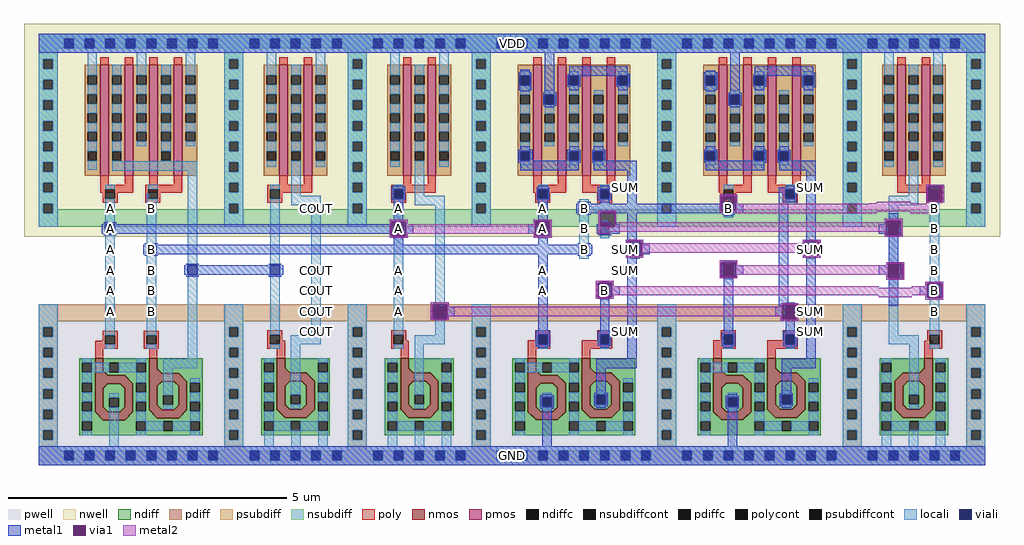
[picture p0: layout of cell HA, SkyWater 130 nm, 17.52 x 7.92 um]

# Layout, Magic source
magic
tech sky130A
magscale 1 2
<< nwell >>
rect 57 1463 91 1497
<< pwell >>
rect 57 -17 91 17
<< locali >>
rect 2055 945 2089 979
rect 2721 945 2755 979
rect 205 871 239 905
rect 353 871 387 905
rect 945 871 979 905
rect 1241 871 1275 905
rect 1759 871 1793 905
rect 1907 871 1941 905
rect 2425 871 2459 905
rect 3165 871 3199 905
rect 205 797 239 831
rect 1241 797 1275 831
rect 1759 797 1793 831
rect 1907 773 1941 855
rect 3165 797 3199 831
rect 205 723 239 757
rect 353 723 387 757
rect 1907 723 1941 757
rect 2055 723 2089 757
rect 2721 723 2755 757
rect 3165 723 3199 757
rect 205 649 239 683
rect 353 649 387 683
rect 945 649 979 683
rect 1241 649 1275 683
rect 1759 649 1793 683
rect 2055 649 2089 683
rect 3165 649 3199 683
rect 205 575 239 609
rect 353 575 387 609
rect 945 575 979 609
rect 1241 575 1275 609
rect 1759 575 1793 609
rect 1981 575 2015 609
rect 3165 575 3199 609
rect 205 501 239 535
rect 353 501 387 535
rect 945 501 979 535
rect 1241 501 1275 535
rect 2721 501 2755 535
rect 3165 501 3199 535
rect 945 427 979 461
rect 2055 427 2089 461
rect 2721 427 2755 461
<< metal1 >>
rect -34 1446 3364 1514
rect 1977 871 2413 905
rect 275 797 1229 831
rect 423 723 1871 757
rect -34 -34 3364 34
use and2x1_pcell  and2x1_pcell_0 pcells
transform 1 0 0 0 1 0
box -87 -34 1197 1550
use li1_M1_contact  li1_M1_contact_0 pcells
transform -1 0 370 0 -1 740
box -53 -33 29 33
use li1_M1_contact  li1_M1_contact_1
transform -1 0 222 0 -1 814
box -53 -33 29 33
use li1_M1_contact  li1_M1_contact_2
transform 1 0 1924 0 1 740
box -53 -33 29 33
use li1_M1_contact  li1_M1_contact_3
transform -1 0 1924 0 -1 888
box -53 -33 29 33
use xor2X1_pcell  xor2X1_pcell_0 pcells
transform 1 0 1110 0 1 0
box -87 -34 2307 1550
<< labels >>
rlabel locali 2721 723 2755 757 1 SUM
port 1 nsew signal output
rlabel locali 2055 723 2089 757 1 SUM
port 1 nsew signal output
rlabel locali 2721 427 2755 461 1 SUM
port 1 nsew signal output
rlabel locali 2721 501 2755 535 1 SUM
port 1 nsew signal output
rlabel locali 2721 945 2755 979 1 SUM
port 1 nsew signal output
rlabel locali 2055 649 2089 683 1 SUM
port 1 nsew signal output
rlabel locali 2055 427 2089 461 1 SUM
port 1 nsew signal output
rlabel locali 2055 945 2089 979 1 SUM
port 1 nsew signal output
rlabel locali 945 501 979 535 1 COUT
port 2 nsew signal output
rlabel locali 945 427 979 461 1 COUT
port 2 nsew signal output
rlabel locali 945 649 979 683 1 COUT
port 2 nsew signal output
rlabel locali 945 871 979 905 1 COUT
port 2 nsew signal output
rlabel locali 945 575 979 609 1 COUT
port 2 nsew signal output
rlabel locali 205 797 239 831 1 A
port 3 nsew signal input
rlabel locali 205 871 239 905 1 A
port 3 nsew signal input
rlabel locali 205 723 239 757 1 A
port 3 nsew signal input
rlabel locali 205 649 239 683 1 A
port 3 nsew signal input
rlabel locali 205 575 239 609 1 A
port 3 nsew signal input
rlabel locali 205 501 239 535 1 A
port 3 nsew signal input
rlabel locali 1241 871 1275 905 1 A
port 3 nsew signal input
rlabel locali 1241 797 1275 831 1 A
port 3 nsew signal input
rlabel locali 1241 649 1275 683 1 A
port 3 nsew signal input
rlabel locali 1241 575 1275 609 1 A
port 3 nsew signal input
rlabel locali 1241 501 1275 535 1 A
port 3 nsew signal input
rlabel locali 1759 871 1793 905 1 A
port 3 nsew signal input
rlabel locali 1759 797 1793 831 1 A
port 3 nsew signal input
rlabel locali 1759 649 1793 683 1 A
port 3 nsew signal input
rlabel locali 1759 575 1793 609 1 A
port 3 nsew signal input
rlabel locali 353 723 387 757 1 B
port 4 nsew signal input
rlabel locali 353 649 387 683 1 B
port 4 nsew signal input
rlabel locali 353 575 387 609 1 B
port 4 nsew signal input
rlabel locali 353 501 387 535 1 B
port 4 nsew signal input
rlabel locali 353 871 387 905 1 B
port 4 nsew signal input
rlabel locali 1907 723 1941 757 1 B
port 4 nsew signal input
rlabel locali 1907 797 1941 831 1 B
port 4 nsew signal input
rlabel locali 1907 871 1941 905 1 B
port 4 nsew signal input
rlabel locali 3165 723 3199 757 1 B
port 4 nsew signal input
rlabel locali 1981 575 2015 609 1 B
port 4 nsew signal input
rlabel locali 3165 575 3199 609 1 B
port 4 nsew signal input
rlabel locali 3165 649 3199 683 1 B
port 4 nsew signal input
rlabel locali 3165 501 3199 535 1 B
port 4 nsew signal input
rlabel locali 3165 797 3199 831 1 B
port 4 nsew signal input
rlabel locali 3165 871 3199 905 1 B
port 4 nsew signal input
rlabel locali 2425 871 2459 905 1 B
port 4 nsew signal input
rlabel metal1 -34 1446 3364 1514 1 VDD
port 5 nsew power bidirectional abutment
rlabel metal1 -34 -34 3364 34 1 GND
port 6 nsew ground bidirectional abutment


<< properties >>
string LEFclass CORE
string LEFsite unitrh
string FIXED_BBOX 0 0 3330 1480
string LEFsymmetry X Y R90
<< end >>

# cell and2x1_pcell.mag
magic
tech sky130A
magscale 1 2
<< metal1 >>
rect 547 649 761 683
use nand2x1_pcell  nand2x1_pcell_0
transform 1 0 0 0 1 0
box -87 -34 753 1550
use invx1_pcell  invx1_pcell_0
transform 1 0 666 0 1 0
box -87 -34 531 1550
use li1_M1_contact  li1_M1_contact_1
transform 1 0 814 0 1 666
box -53 -33 29 33
use li1_M1_contact  li1_M1_contact_0
transform -1 0 518 0 -1 666
box -53 -33 29 33
<< end >>

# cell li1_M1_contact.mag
magic
tech sky130A
magscale 1 2
<< locali >>
rect -17 17 17 33
rect -17 -33 17 -17
<< viali >>
rect -17 -17 17 17
<< metal1 >>
rect -23 17 23 23
rect -53 -17 -17 17
rect 17 -17 29 17
rect -23 -23 23 -17
<< end >>

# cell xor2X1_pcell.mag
magic
tech sky130A
magscale 1 2
<< nwell >>
rect 531 1532 1689 1550
rect 528 1514 1026 1532
rect 1194 1514 1692 1532
rect 478 1463 1742 1514
rect 478 1449 1079 1463
rect 1141 1449 1742 1463
rect 478 1446 1076 1449
rect 1144 1446 1742 1449
rect 528 1439 1026 1446
rect 528 968 539 1439
rect 585 1330 619 1364
rect 1015 968 1026 1439
rect 528 825 1026 968
rect 1194 1440 1692 1446
rect 1194 968 1205 1440
rect 1681 968 1692 1440
rect 1194 825 1692 968
rect 2042 905 2055 913
rect 531 786 1689 825
<< pwell >>
rect -31 0 1742 544
rect 1761 0 2251 544
rect 478 -28 1742 0
rect 478 -34 1076 -28
rect 1144 -34 1742 -28
<< pdiffc >>
rect 585 1330 619 1364
rect 761 1330 795 1364
rect 937 1330 971 1364
rect 1251 1330 1285 1364
rect 1427 1330 1461 1364
rect 1603 1330 1637 1364
rect 585 1058 619 1092
rect 761 1058 795 1092
rect 849 1058 883 1092
rect 1251 1058 1285 1092
rect 1427 1058 1461 1092
rect 1515 1058 1549 1092
<< psubdiff >>
rect 478 482 1079 544
rect 1141 482 1742 544
rect 478 -17 501 17
rect 535 -17 575 17
rect 609 -17 649 17
rect 683 -17 723 17
rect 757 -17 797 17
rect 831 -17 871 17
rect 905 -17 945 17
rect 979 -17 1019 17
rect 1053 -17 1079 17
rect 1141 -17 1167 17
rect 1201 -17 1241 17
rect 1275 -17 1315 17
rect 1349 -17 1389 17
rect 1423 -17 1463 17
rect 1497 -17 1537 17
rect 1571 -17 1611 17
rect 1645 -17 1685 17
rect 1719 -17 1742 17
rect 478 -34 1076 -17
rect 1144 -34 1742 -17
<< nsubdiff >>
rect 478 1497 1742 1514
rect 478 1463 501 1497
rect 535 1463 575 1497
rect 609 1463 649 1497
rect 683 1463 723 1497
rect 757 1463 797 1497
rect 831 1463 871 1497
rect 905 1463 945 1497
rect 979 1463 1019 1497
rect 1053 1463 1167 1497
rect 1201 1463 1241 1497
rect 1275 1463 1315 1497
rect 1349 1463 1389 1497
rect 1423 1463 1463 1497
rect 1497 1463 1537 1497
rect 1571 1463 1611 1497
rect 1645 1463 1685 1497
rect 1719 1463 1742 1497
rect 478 822 1079 884
rect 1141 822 1742 884
<< psubdiffcont >>
rect 501 -17 535 17
rect 575 -17 609 17
rect 649 -17 683 17
rect 723 -17 757 17
rect 797 -17 831 17
rect 871 -17 905 17
rect 945 -17 979 17
rect 1019 -17 1053 17
rect 1167 -17 1201 17
rect 1241 -17 1275 17
rect 1315 -17 1349 17
rect 1389 -17 1423 17
rect 1463 -17 1497 17
rect 1537 -17 1571 17
rect 1611 -17 1645 17
rect 1685 -17 1719 17
<< nsubdiffcont >>
rect 501 1463 535 1497
rect 575 1463 609 1497
rect 649 1463 683 1497
rect 723 1463 757 1497
rect 797 1463 831 1497
rect 871 1463 905 1497
rect 945 1463 979 1497
rect 1019 1463 1053 1497
rect 1167 1463 1201 1497
rect 1241 1463 1275 1497
rect 1315 1463 1349 1497
rect 1389 1463 1423 1497
rect 1463 1463 1497 1497
rect 1537 1463 1571 1497
rect 1611 1463 1645 1497
rect 1685 1463 1719 1497
<< poly >>
rect 612 384 639 414
rect 806 384 861 414
rect 1278 384 1305 414
rect 1472 384 1527 414
rect 612 376 642 384
rect 806 383 836 384
rect 1278 376 1308 384
rect 1472 383 1502 384
<< locali >>
rect 478 1497 1769 1514
rect 478 1463 501 1497
rect 535 1463 575 1497
rect 609 1463 649 1497
rect 683 1463 723 1497
rect 757 1463 797 1497
rect 831 1463 871 1497
rect 905 1463 945 1497
rect 979 1463 1019 1497
rect 1053 1463 1167 1497
rect 1201 1463 1241 1497
rect 1275 1463 1315 1497
rect 1349 1463 1389 1497
rect 1423 1463 1463 1497
rect 1497 1463 1537 1497
rect 1571 1463 1611 1497
rect 1645 1463 1685 1497
rect 1719 1463 1769 1497
rect 478 1446 1769 1463
rect 585 1364 619 1380
rect 585 1312 619 1330
rect 761 1364 795 1380
rect 761 1312 795 1330
rect 937 1364 971 1380
rect 937 1312 971 1330
rect 1251 1364 1285 1380
rect 1251 1312 1285 1330
rect 1427 1364 1461 1380
rect 1427 1312 1461 1330
rect 1603 1364 1637 1380
rect 1603 1312 1637 1330
rect 585 1092 619 1126
rect 585 1042 619 1058
rect 761 1092 795 1113
rect 761 1042 795 1058
rect 849 1092 883 1115
rect 849 1042 883 1058
rect 1251 1092 1285 1121
rect 1251 1042 1285 1058
rect 1427 1092 1461 1118
rect 1427 1042 1461 1058
rect 1515 1092 1549 1120
rect 1515 1042 1549 1058
rect 475 17 1815 34
rect 475 -17 501 17
rect 535 -17 575 17
rect 609 -17 649 17
rect 683 -17 723 17
rect 757 -17 797 17
rect 831 -17 871 17
rect 905 -17 945 17
rect 979 -17 1019 17
rect 1053 -17 1167 17
rect 1201 -17 1241 17
rect 1275 -17 1315 17
rect 1349 -17 1389 17
rect 1423 -17 1463 17
rect 1497 -17 1537 17
rect 1571 -17 1611 17
rect 1645 -17 1685 17
rect 1719 -17 1815 17
rect 475 -34 1815 -17
<< viali >>
rect 501 1463 535 1497
rect 575 1463 609 1497
rect 649 1463 683 1497
rect 723 1463 757 1497
rect 797 1463 831 1497
rect 871 1463 905 1497
rect 945 1463 979 1497
rect 1019 1463 1053 1497
rect 1167 1463 1201 1497
rect 1241 1463 1275 1497
rect 1315 1463 1349 1497
rect 1389 1463 1423 1497
rect 1463 1463 1497 1497
rect 1537 1463 1571 1497
rect 1611 1463 1645 1497
rect 1685 1463 1719 1497
rect 585 1330 619 1364
rect 761 1330 795 1364
rect 937 1330 971 1364
rect 1251 1330 1285 1364
rect 1427 1330 1461 1364
rect 1603 1330 1637 1364
rect 673 1262 707 1296
rect 1339 1262 1373 1296
rect 585 1058 619 1092
rect 761 1058 795 1092
rect 849 1058 883 1092
rect 1251 1058 1285 1092
rect 1427 1058 1461 1092
rect 1515 1058 1549 1092
rect 131 923 165 957
rect 649 923 683 957
rect 871 923 905 957
rect 1537 923 1571 957
rect 649 400 683 434
rect 871 400 905 434
rect 1315 400 1349 434
rect 1537 400 1571 434
rect 663 175 697 209
rect 857 184 891 218
rect 1329 175 1363 209
rect 1523 184 1557 218
rect 501 -17 535 17
rect 575 -17 609 17
rect 649 -17 683 17
rect 723 -17 757 17
rect 797 -17 831 17
rect 871 -17 905 17
rect 945 -17 979 17
rect 1019 -17 1053 17
rect 1167 -17 1201 17
rect 1241 -17 1275 17
rect 1315 -17 1349 17
rect 1389 -17 1423 17
rect 1463 -17 1497 17
rect 1537 -17 1571 17
rect 1611 -17 1645 17
rect 1685 -17 1719 17
<< metal1 >>
rect 478 1497 1742 1514
rect 478 1463 501 1497
rect 535 1463 575 1497
rect 609 1463 649 1497
rect 683 1463 723 1497
rect 757 1463 797 1497
rect 831 1463 871 1497
rect 905 1463 945 1497
rect 979 1463 1019 1497
rect 1053 1463 1167 1497
rect 1201 1463 1241 1497
rect 1275 1463 1315 1497
rect 1349 1463 1389 1497
rect 1423 1463 1463 1497
rect 1497 1463 1537 1497
rect 1571 1463 1611 1497
rect 1645 1463 1685 1497
rect 1719 1463 1742 1497
rect 478 1449 1079 1463
rect 1141 1449 1742 1463
rect 478 1446 1076 1449
rect 1144 1446 1742 1449
rect 585 1377 619 1385
rect 579 1364 625 1377
rect 579 1330 585 1364
rect 619 1330 625 1364
rect 579 1312 625 1330
rect 585 1308 619 1312
rect 673 1304 707 1446
rect 761 1371 971 1398
rect 1251 1376 1285 1382
rect 761 1370 977 1371
rect 755 1364 977 1370
rect 755 1330 761 1364
rect 795 1330 801 1364
rect 755 1324 801 1330
rect 931 1330 937 1364
rect 971 1330 977 1364
rect 931 1324 977 1330
rect 1243 1364 1291 1376
rect 1243 1330 1251 1364
rect 1285 1330 1291 1364
rect 761 1312 795 1324
rect 937 1312 971 1324
rect 1243 1314 1291 1330
rect 1251 1309 1285 1314
rect 667 1296 713 1304
rect 1339 1302 1373 1446
rect 1427 1374 1637 1398
rect 1427 1370 1643 1374
rect 1421 1364 1643 1370
rect 1421 1330 1427 1364
rect 1461 1330 1467 1364
rect 1421 1324 1467 1330
rect 1596 1330 1603 1364
rect 1637 1330 1643 1364
rect 1427 1312 1461 1324
rect 1596 1323 1643 1330
rect 1603 1312 1637 1323
rect 667 1262 673 1296
rect 707 1262 713 1296
rect 667 1256 713 1262
rect 1333 1296 1379 1302
rect 1333 1262 1339 1296
rect 1373 1262 1379 1296
rect 1333 1256 1379 1262
rect 673 1250 707 1256
rect 1339 1250 1373 1256
rect 585 1098 619 1110
rect 761 1098 795 1110
rect 849 1098 883 1110
rect 1251 1098 1285 1110
rect 1427 1098 1461 1110
rect 1515 1098 1549 1110
rect 578 1092 629 1098
rect 578 1058 585 1092
rect 619 1058 629 1092
rect 754 1092 802 1098
rect 754 1058 761 1092
rect 795 1058 802 1092
rect 578 1051 802 1058
rect 843 1092 889 1098
rect 843 1058 849 1092
rect 883 1058 889 1092
rect 1245 1092 1291 1098
rect 1245 1058 1251 1092
rect 1285 1058 1291 1092
rect 1421 1092 1467 1098
rect 1421 1058 1427 1092
rect 1461 1058 1467 1092
rect 843 1052 1003 1058
rect 1245 1052 1467 1058
rect 1509 1092 1555 1098
rect 1509 1058 1515 1092
rect 1549 1058 1555 1092
rect 1509 1052 1645 1058
rect 585 1024 795 1051
rect 849 1024 1003 1052
rect 1251 1024 1461 1052
rect 1515 1024 1645 1052
rect 131 967 165 969
rect 124 957 172 967
rect 649 963 683 969
rect 871 966 905 969
rect 124 923 131 957
rect 165 923 172 957
rect 124 917 172 923
rect 643 957 689 963
rect 643 923 649 957
rect 683 923 689 957
rect 643 917 689 923
rect 863 957 913 966
rect 863 923 871 957
rect 905 923 913 957
rect 863 917 913 923
rect 131 846 165 917
rect 649 847 683 917
rect 871 879 905 917
rect 865 873 929 879
rect 116 840 180 846
rect 116 788 122 840
rect 174 788 180 840
rect 116 782 180 788
rect 633 841 697 847
rect 633 789 639 841
rect 691 789 697 841
rect 865 821 871 873
rect 923 821 929 873
rect 865 815 929 821
rect 633 783 697 789
rect 131 724 165 782
rect 264 544 328 550
rect 264 492 270 544
rect 322 492 328 544
rect 264 486 328 492
rect 649 448 683 783
rect 969 775 1003 1024
rect 1537 964 1571 969
rect 1513 957 1578 964
rect 1300 932 1364 938
rect 1300 880 1306 932
rect 1358 880 1364 932
rect 1300 874 1364 880
rect 1513 923 1537 957
rect 1571 923 1578 957
rect 1513 910 1578 923
rect 1315 862 1349 874
rect 963 769 1027 775
rect 963 717 969 769
rect 1021 717 1027 769
rect 969 711 1027 717
rect 856 621 920 627
rect 856 569 862 621
rect 914 609 920 621
rect 914 569 920 575
rect 856 563 920 569
rect 641 434 690 448
rect 871 447 905 563
rect 641 400 649 434
rect 683 400 690 434
rect 641 393 690 400
rect 863 434 912 447
rect 863 400 871 434
rect 905 400 912 434
rect 863 394 912 400
rect 649 388 683 393
rect 871 388 905 394
rect 969 348 1003 711
rect 1300 695 1364 701
rect 1300 643 1306 695
rect 1358 643 1364 695
rect 1300 641 1364 643
rect 1315 441 1349 641
rect 1513 547 1547 910
rect 1611 775 1645 1024
rect 2042 967 2106 973
rect 2042 915 2048 967
rect 2100 915 2106 967
rect 2042 909 2106 915
rect 1907 850 1941 871
rect 1893 844 1957 850
rect 1893 792 1899 844
rect 1951 792 1957 844
rect 1599 769 1661 775
rect 1599 717 1605 769
rect 1657 717 1661 769
rect 1599 711 1661 717
rect 1513 541 1583 547
rect 1513 528 1525 541
rect 1519 489 1525 528
rect 1577 489 1583 541
rect 1519 483 1583 489
rect 1537 446 1571 483
rect 1308 434 1356 441
rect 1308 400 1315 434
rect 1349 400 1356 434
rect 1308 392 1356 400
rect 1528 434 1579 446
rect 1528 400 1537 434
rect 1571 400 1579 434
rect 1528 392 1579 400
rect 1315 388 1349 392
rect 1537 388 1571 392
rect 1611 348 1645 711
rect 1907 695 1941 792
rect 1899 689 1963 695
rect 1899 637 1905 689
rect 1957 637 1963 689
rect 1899 631 1963 637
rect 1907 538 1941 631
rect 2039 618 2103 624
rect 2039 566 2045 618
rect 2097 566 2103 618
rect 2039 560 2103 566
rect 857 314 1003 348
rect 1523 314 1645 348
rect 857 225 891 314
rect 663 216 697 221
rect 851 218 898 225
rect 1523 224 1557 314
rect 657 209 704 216
rect 657 175 663 209
rect 697 175 704 209
rect 851 184 857 218
rect 891 184 898 218
rect 1329 215 1363 221
rect 1517 218 1563 224
rect 851 177 898 184
rect 1323 209 1369 215
rect 657 169 704 175
rect 857 172 891 177
rect 1323 175 1329 209
rect 1363 175 1369 209
rect 1517 184 1523 218
rect 1557 184 1563 218
rect 1517 178 1563 184
rect 1323 169 1369 175
rect 1523 172 1557 178
rect 663 34 697 169
rect 1329 34 1363 169
rect 478 17 1079 34
rect 478 -17 501 17
rect 535 -17 575 17
rect 609 -17 649 17
rect 683 -17 723 17
rect 757 -17 797 17
rect 831 -17 871 17
rect 905 -17 945 17
rect 979 -17 1019 17
rect 1053 -17 1079 17
rect 478 -28 1079 -17
rect 1141 17 1742 34
rect 1141 -17 1167 17
rect 1201 -17 1241 17
rect 1275 -17 1315 17
rect 1349 -17 1389 17
rect 1423 -17 1463 17
rect 1497 -17 1537 17
rect 1571 -17 1611 17
rect 1645 -17 1685 17
rect 1719 -17 1742 17
rect 1141 -28 1742 -17
rect 478 -34 1076 -28
rect 1144 -34 1742 -28
<< via1 >>
rect 122 788 174 840
rect 639 789 691 841
rect 871 821 923 873
rect 270 492 322 544
rect 1306 880 1358 932
rect 969 717 1021 769
rect 862 569 914 621
rect 1306 643 1358 695
rect 2048 915 2100 967
rect 1899 792 1951 844
rect 1605 717 1657 769
rect 1525 489 1577 541
rect 1905 637 1957 689
rect 2045 566 2097 618
<< metal2 >>
rect 2042 967 2106 973
rect 1300 932 1364 938
rect 1300 880 1306 932
rect 1358 905 1364 932
rect 2042 915 2048 967
rect 2100 915 2106 967
rect 1865 906 1985 912
rect 2042 909 2106 915
rect 1837 905 2013 906
rect 2042 905 2085 909
rect 1358 880 2085 905
rect 865 873 929 879
rect 1300 878 2085 880
rect 1300 874 1865 878
rect 116 840 180 846
rect 116 788 122 840
rect 174 831 180 840
rect 633 841 697 847
rect 633 831 639 841
rect 174 797 639 831
rect 174 788 180 797
rect 116 782 180 788
rect 633 789 639 797
rect 691 789 697 841
rect 865 821 871 873
rect 923 837 929 873
rect 1364 871 1865 874
rect 1985 871 2085 878
rect 1893 844 1957 850
rect 1893 837 1899 844
rect 923 821 1899 837
rect 865 803 1899 821
rect 865 797 908 803
rect 633 783 697 789
rect 1893 792 1899 803
rect 1951 792 1957 844
rect 1893 786 1957 792
rect 963 769 1027 775
rect 963 717 969 769
rect 1021 763 1027 769
rect 1599 769 1663 775
rect 1599 763 1605 769
rect 1021 729 1605 763
rect 1021 717 1027 729
rect 963 711 1027 717
rect 1599 717 1605 729
rect 1657 717 1663 769
rect 1599 711 1663 717
rect 1300 695 1364 701
rect 1300 643 1306 695
rect 1358 683 1364 695
rect 1899 689 1963 695
rect 1899 683 1905 689
rect 1358 649 1905 683
rect 1358 643 1364 649
rect 1300 637 1364 643
rect 1899 637 1905 649
rect 1957 637 1963 689
rect 1899 631 1963 637
rect 856 621 920 627
rect 856 569 862 621
rect 914 609 920 621
rect 2039 618 2103 624
rect 2039 609 2045 618
rect 914 603 1871 609
rect 1991 603 2045 609
rect 914 575 2045 603
rect 914 569 920 575
rect 1871 569 1991 575
rect 856 563 920 569
rect 2039 566 2045 575
rect 2097 566 2103 618
rect 2039 560 2103 566
rect 264 544 328 550
rect 264 492 270 544
rect 322 535 328 544
rect 1519 541 1583 547
rect 1519 535 1525 541
rect 322 501 1525 535
rect 322 492 328 501
rect 264 486 328 492
rect 1519 489 1525 501
rect 1577 489 1583 541
rect 1519 483 1583 489
use diff_ring_side  diff_ring_side_0
transform 1 0 1110 0 1 0
box -87 -34 87 1550
use diff_ring_side  diff_ring_side_1
transform 1 0 444 0 1 0
box -87 -34 87 1550
use diff_ring_side  diff_ring_side_3
transform 1 0 1776 0 1 0
box -87 -34 87 1550
use invx1_pcell  invx1_pcell_0
transform 1 0 0 0 1 0
box -87 -34 531 1550
use invx1_pcell  invx1_pcell_1
transform -1 0 2220 0 1 0
box -87 -34 531 1550
use li1_M1_contact  li1_M1_contact_0
transform 1 0 666 0 1 814
box -53 -33 29 33
use li1_M1_contact  li1_M1_contact_1
transform -1 0 148 0 -1 814
box -53 -33 29 33
use li1_M1_contact  li1_M1_contact_2
transform 1 0 2072 0 1 592
box -53 -33 29 33
use li1_M1_contact  li1_M1_contact_3
transform -1 0 888 0 -1 814
box -53 -33 29 33
use li1_M1_contact  li1_M1_contact_4
transform -1 0 296 0 -1 518
box -53 -33 29 33
use li1_M1_contact  li1_M1_contact_5
transform 1 0 1554 0 1 518
box -53 -33 29 33
use li1_M1_contact  li1_M1_contact_6
transform -1 0 1332 0 -1 888
box -53 -33 29 33
use li1_M1_contact  li1_M1_contact_7
transform -1 0 996 0 -1 740
box -53 -33 29 33
use li1_M1_contact  li1_M1_contact_8
transform 1 0 1628 0 1 740
box -53 -33 29 33
use li1_M1_contact  li1_M1_contact_9
transform -1 0 888 0 -1 592
box -53 -33 29 33
use li1_M1_contact  li1_M1_contact_10
transform 1 0 1924 0 1 814
box -53 -33 29 33
use li1_M1_contact  li1_M1_contact_11
transform -1 0 1332 0 -1 666
box -53 -33 29 33
use li1_M1_contact  li1_M1_contact_13
transform 1 0 1924 0 1 666
box -53 -33 29 33
use nmos_bottom  nmos_bottom_0
transform -1 0 804 0 1 74
box 0 0 248 302
use nmos_bottom  nmos_bottom_1
transform -1 0 1470 0 1 74
box 0 0 248 302
use nmos_top_trim1  nmos_top_trim1_0
transform -1 0 998 0 1 74
box 0 0 248 309
use nmos_top_trim1  nmos_top_trim1_1
transform -1 0 1664 0 1 74
box 0 0 248 309
use pmos2_1  pmos2_1_0
transform 1 0 487 0 1 1403
box 52 -460 352 37
use pmos2_1  pmos2_1_1
transform 1 0 663 0 1 1403
box 52 -460 352 37
use pmos2_1  pmos2_1_2
transform 1 0 1153 0 1 1403
box 52 -460 352 37
use pmos2_1  pmos2_1_3
transform 1 0 1329 0 1 1403
box 52 -460 352 37
use poly_li1_contact  poly_li1_contact_0
transform 0 1 667 -1 0 941
box -32 -28 34 26
use poly_li1_contact  poly_li1_contact_1
transform 0 1 667 -1 0 418
box -32 -28 34 26
use poly_li1_contact  poly_li1_contact_2
transform 0 1 889 -1 0 418
box -32 -28 34 26
use poly_li1_contact  poly_li1_contact_3
transform 0 1 889 -1 0 941
box -32 -28 34 26
use poly_li1_contact  poly_li1_contact_4
transform 0 1 1333 -1 0 418
box -32 -28 34 26
use poly_li1_contact  poly_li1_contact_5
transform 0 1 1333 -1 0 941
box -32 -28 34 26
use poly_li1_contact  poly_li1_contact_6
transform 0 1 1555 -1 0 418
box -32 -28 34 26
use poly_li1_contact  poly_li1_contact_7
transform 0 1 1555 -1 0 941
box -32 -28 34 26
<< end >>

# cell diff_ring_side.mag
magic
tech sky130A
magscale 1 2
<< nwell >>
rect -87 786 87 1550
<< pwell >>
rect -34 -34 34 544
<< psubdiff >>
rect -34 461 34 544
rect -34 427 -17 461
rect 17 427 34 461
rect -34 387 34 427
rect -34 353 -17 387
rect 17 353 34 387
rect -34 313 34 353
rect -34 279 -17 313
rect 17 279 34 313
rect -34 239 34 279
rect -34 205 -17 239
rect 17 205 34 239
rect -34 165 34 205
rect -34 131 -17 165
rect 17 131 34 165
rect -34 91 34 131
rect -34 57 -17 91
rect 17 57 34 91
rect -34 -34 34 57
<< nsubdiff >>
rect -34 1423 34 1514
rect -34 1389 -17 1423
rect 17 1389 34 1423
rect -34 1349 34 1389
rect -34 1315 -17 1349
rect 17 1315 34 1349
rect -34 1275 34 1315
rect -34 1241 -17 1275
rect 17 1241 34 1275
rect -34 1201 34 1241
rect -34 1167 -17 1201
rect 17 1167 34 1201
rect -34 1127 34 1167
rect -34 1093 -17 1127
rect 17 1093 34 1127
rect -34 1053 34 1093
rect -34 1019 -17 1053
rect 17 1019 34 1053
rect -34 979 34 1019
rect -34 945 -17 979
rect 17 945 34 979
rect -34 905 34 945
rect -34 871 -17 905
rect 17 871 34 905
rect -34 822 34 871
<< psubdiffcont >>
rect -17 427 17 461
rect -17 353 17 387
rect -17 279 17 313
rect -17 205 17 239
rect -17 131 17 165
rect -17 57 17 91
<< nsubdiffcont >>
rect -17 1389 17 1423
rect -17 1315 17 1349
rect -17 1241 17 1275
rect -17 1167 17 1201
rect -17 1093 17 1127
rect -17 1019 17 1053
rect -17 945 17 979
rect -17 871 17 905
<< locali >>
rect -34 1423 34 1514
rect -34 1389 -17 1423
rect 17 1389 34 1423
rect -34 1349 34 1389
rect -34 1315 -17 1349
rect 17 1315 34 1349
rect -34 1275 34 1315
rect -34 1241 -17 1275
rect 17 1241 34 1275
rect -34 1201 34 1241
rect -34 1167 -17 1201
rect 17 1167 34 1201
rect -34 1127 34 1167
rect -34 1093 -17 1127
rect 17 1093 34 1127
rect -34 1053 34 1093
rect -34 1019 -17 1053
rect 17 1019 34 1053
rect -34 979 34 1019
rect -34 945 -17 979
rect 17 945 34 979
rect -34 905 34 945
rect -34 871 -17 905
rect 17 871 34 905
rect -34 822 34 871
rect -34 461 34 544
rect -34 427 -17 461
rect 17 427 34 461
rect -34 387 34 427
rect -34 353 -17 387
rect 17 353 34 387
rect -34 313 34 353
rect -34 279 -17 313
rect 17 279 34 313
rect -34 239 34 279
rect -34 205 -17 239
rect 17 205 34 239
rect -34 165 34 205
rect -34 131 -17 165
rect 17 131 34 165
rect -34 91 34 131
rect -34 57 -17 91
rect 17 57 34 91
rect -34 -34 34 57
<< metal1 >>
rect -34 1446 34 1514
rect -34 -34 34 34
<< end >>

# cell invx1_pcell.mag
magic
tech sky130A
magscale 1 2
<< nwell >>
rect -87 786 531 1550
<< pwell >>
rect -34 -34 478 544
<< pdiffc >>
rect 118 1059 152 1093
rect 206 1059 240 1093
rect 294 1059 328 1093
<< psubdiff >>
rect 34 482 410 544
rect 34 -17 57 17
rect 91 -17 131 17
rect 165 -17 205 17
rect 239 -17 279 17
rect 313 -17 353 17
rect 387 -17 410 17
rect 34 -34 410 -17
<< nsubdiff >>
rect 34 1497 410 1514
rect 34 1463 57 1497
rect 91 1463 131 1497
rect 165 1463 205 1497
rect 239 1463 279 1497
rect 313 1463 353 1497
rect 387 1463 410 1497
rect 34 822 410 884
<< psubdiffcont >>
rect 57 -17 91 17
rect 131 -17 165 17
rect 205 -17 239 17
rect 279 -17 313 17
rect 353 -17 387 17
<< nsubdiffcont >>
rect 57 1463 91 1497
rect 131 1463 165 1497
rect 205 1463 239 1497
rect 279 1463 313 1497
rect 353 1463 387 1497
<< poly >>
rect 155 381 185 413
<< locali >>
rect 34 1497 410 1514
rect 34 1463 57 1497
rect 91 1463 131 1497
rect 165 1463 205 1497
rect 239 1463 279 1497
rect 313 1463 353 1497
rect 387 1463 410 1497
rect 34 1446 410 1463
rect 118 1093 152 1111
rect 118 1037 152 1059
rect 206 1093 240 1111
rect 206 933 240 1059
rect 294 1093 328 1111
rect 294 1037 328 1059
rect 131 449 165 908
rect 206 899 313 933
rect 279 433 313 899
rect 205 399 313 433
rect 205 233 239 399
rect 109 34 143 90
rect 206 34 240 91
rect 303 34 337 90
rect 34 17 410 34
rect 34 -17 57 17
rect 91 -17 131 17
rect 165 -17 205 17
rect 239 -17 279 17
rect 313 -17 353 17
rect 387 -17 410 17
rect 34 -34 410 -17
<< viali >>
rect 57 1463 91 1497
rect 131 1463 165 1497
rect 205 1463 239 1497
rect 279 1463 313 1497
rect 353 1463 387 1497
rect 57 -17 91 17
rect 131 -17 165 17
rect 205 -17 239 17
rect 279 -17 313 17
rect 353 -17 387 17
<< metal1 >>
rect 34 1497 410 1514
rect 34 1463 57 1497
rect 91 1463 131 1497
rect 165 1463 205 1497
rect 239 1463 279 1497
rect 313 1463 353 1497
rect 387 1463 410 1497
rect 34 1446 410 1463
rect 34 17 410 34
rect 34 -17 57 17
rect 91 -17 131 17
rect 165 -17 205 17
rect 239 -17 279 17
rect 313 -17 353 17
rect 387 -17 410 17
rect 34 -34 410 -17
use poly_li1_contact  poly_li1_contact_1
transform 0 -1 147 1 0 416
box -32 -28 34 26
use nmos_top  nmos_top_0
transform -1 0 345 0 1 74
box 0 0 246 308
use pmos2  pmos2_0
transform 1 0 20 0 1 1404
box 52 -461 352 42
use poly_li1_contact  poly_li1_contact_0
transform 0 1 149 -1 0 941
box -32 -28 34 26
use diff_ring_side  diff_ring_side_0
transform 1 0 444 0 1 0
box -87 -34 87 1550
use diff_ring_side  diff_ring_side_1
transform 1 0 0 0 1 0
box -87 -34 87 1550
<< end >>

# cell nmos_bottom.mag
magic
tech sky130A
magscale 1 2
<< nmos >>
tri 146 215 162 231 se
rect 162 215 192 276
tri 56 185 86 215 se
rect 86 185 192 215
rect 56 84 86 185
tri 86 169 102 185 nw
tri 146 169 162 185 ne
tri 86 84 102 100 sw
tri 146 84 162 100 se
rect 162 84 192 185
tri 56 54 86 84 ne
rect 86 54 162 84
tri 162 54 192 84 nw
<< ndiff >>
rect 0 260 162 276
rect 0 226 10 260
rect 44 226 107 260
rect 141 231 162 260
rect 141 226 146 231
rect 0 215 146 226
tri 146 215 162 231 nw
rect 192 260 248 276
rect 192 226 204 260
rect 238 226 248 260
rect 0 188 56 215
rect 0 154 10 188
rect 44 154 56 188
tri 56 185 86 215 nw
rect 192 188 248 226
rect 0 120 56 154
rect 0 86 10 120
rect 44 86 56 120
rect 0 54 56 86
tri 86 169 102 185 se
rect 102 169 146 185
tri 146 169 162 185 sw
rect 86 135 162 169
rect 86 101 107 135
rect 141 101 162 135
rect 86 100 162 101
tri 86 84 102 100 ne
rect 102 84 146 100
tri 146 84 162 100 nw
rect 192 154 204 188
rect 238 154 248 188
rect 192 120 248 154
rect 192 86 204 120
rect 238 86 248 120
tri 56 54 86 84 sw
tri 162 54 192 84 se
rect 192 54 248 86
rect 0 50 248 54
rect 0 16 10 50
rect 44 16 204 50
rect 238 16 248 50
rect 0 0 248 16
<< ndiffc >>
rect 10 226 44 260
rect 107 226 141 260
rect 204 226 238 260
rect 10 154 44 188
rect 10 86 44 120
rect 107 101 141 135
rect 204 154 238 188
rect 204 86 238 120
rect 10 16 44 50
rect 204 16 238 50
<< poly >>
rect 162 276 192 302
<< locali >>
rect 10 260 44 276
rect 204 260 238 276
rect 44 226 107 260
rect 141 226 204 260
rect 10 188 44 226
rect 10 120 44 154
rect 204 188 238 226
rect 10 50 44 86
rect 107 135 141 151
rect 107 85 141 101
rect 204 120 238 154
rect 10 0 44 16
rect 204 50 238 86
rect 204 0 238 16
<< end >>

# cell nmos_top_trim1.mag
magic
tech sky130
magscale 1 2
<< nmos >>
tri 146 223 162 239 se
rect 162 223 192 276
tri 56 193 86 223 se
rect 86 193 192 223
rect 56 92 86 193
tri 86 177 102 193 nw
tri 146 177 162 193 ne
tri 86 92 102 108 sw
tri 146 92 162 108 se
rect 162 92 192 193
tri 56 62 86 92 ne
rect 86 62 162 92
tri 162 62 192 92 nw
<< ndiff >>
rect 0 239 162 276
rect 0 223 146 239
tri 146 223 162 239 nw
rect 192 260 248 276
rect 192 226 204 260
rect 238 226 248 260
rect 0 188 56 223
tri 56 193 86 223 nw
rect 0 154 10 188
rect 44 154 56 188
rect 0 120 56 154
rect 0 86 10 120
rect 44 86 56 120
tri 86 177 102 193 se
rect 102 177 146 193
tri 146 177 162 193 sw
rect 86 144 162 177
rect 86 110 107 144
rect 141 110 162 144
rect 86 108 162 110
tri 86 92 102 108 ne
rect 102 92 146 108
tri 146 92 162 108 nw
rect 192 188 248 226
rect 192 154 204 188
rect 238 154 248 188
rect 192 120 248 154
rect 0 62 56 86
tri 56 62 86 92 sw
tri 162 62 192 92 se
rect 192 86 204 120
rect 238 86 248 120
rect 192 62 248 86
rect 0 50 248 62
rect 0 16 10 50
rect 44 16 107 50
rect 141 16 204 50
rect 238 16 248 50
rect 0 0 248 16
<< ndiffc >>
rect 204 226 238 260
rect 10 154 44 188
rect 10 86 44 120
rect 107 110 141 144
rect 204 154 238 188
rect 204 86 238 120
rect 10 16 44 50
rect 107 16 141 50
rect 204 16 238 50
<< poly >>
rect 162 276 192 309
<< locali >>
rect 204 260 238 276
rect 10 188 44 204
rect 204 188 238 226
rect 10 120 44 154
rect 107 144 141 161
rect 107 94 141 110
rect 204 120 238 154
rect 10 50 44 86
rect 204 50 238 86
rect 44 16 107 50
rect 141 16 204 50
rect 10 0 44 16
rect 204 0 238 16
<< end >>

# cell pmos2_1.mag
magic
tech sky130A
magscale 1 2
<< nwell >>
rect 52 -435 352 37
<< pmos >>
rect 144 -399 174 1
rect 232 -399 262 1
<< pdiff >>
rect 88 -107 144 1
rect 88 -141 98 -107
rect 132 -141 144 -107
rect 88 -175 144 -141
rect 88 -209 98 -175
rect 132 -209 144 -175
rect 88 -243 144 -209
rect 88 -277 98 -243
rect 132 -277 144 -243
rect 88 -399 144 -277
rect 174 -107 232 1
rect 174 -141 186 -107
rect 220 -141 232 -107
rect 174 -175 232 -141
rect 174 -209 186 -175
rect 220 -209 232 -175
rect 174 -243 232 -209
rect 174 -277 186 -243
rect 220 -277 232 -243
rect 174 -399 232 -277
rect 262 -107 316 1
rect 262 -141 274 -107
rect 308 -141 316 -107
rect 262 -175 316 -141
rect 262 -209 274 -175
rect 308 -209 316 -175
rect 262 -243 316 -209
rect 262 -277 274 -243
rect 308 -277 316 -243
rect 262 -399 316 -277
<< pdiffc >>
rect 98 -141 132 -107
rect 98 -209 132 -175
rect 98 -277 132 -243
rect 186 -141 220 -107
rect 186 -209 220 -175
rect 186 -277 220 -243
rect 274 -141 308 -107
rect 274 -209 308 -175
rect 274 -277 308 -243
<< poly >>
rect 144 1 174 27
rect 232 1 262 27
rect 144 -430 174 -399
rect 232 -430 262 -399
rect 144 -460 262 -430
<< locali >>
rect 98 -107 132 -91
rect 98 -175 132 -141
rect 98 -243 132 -209
rect 98 -293 132 -277
rect 186 -107 220 -91
rect 186 -175 220 -141
rect 186 -243 220 -209
rect 186 -293 220 -277
rect 274 -107 308 -91
rect 274 -175 308 -141
rect 274 -243 308 -209
rect 274 -293 308 -277
<< end >>

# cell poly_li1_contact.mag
magic
tech sky130
<< poly >>
rect -16 8 17 13
rect -16 -9 -8 8
rect 9 -9 17 8
rect -16 -14 17 -9
<< polycont >>
rect -8 -9 9 8
<< locali >>
rect -16 -9 -8 8
rect 9 -9 17 8
<< end >>

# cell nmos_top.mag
magic
tech sky130
magscale 1 2
<< nmos >>
tri 144 223 160 239 se
rect 160 223 190 276
tri 54 193 84 223 se
rect 84 193 190 223
rect 54 92 84 193
tri 84 177 100 193 nw
tri 144 177 160 193 ne
tri 84 92 100 108 sw
tri 144 92 160 108 se
rect 160 92 190 193
tri 54 62 84 92 ne
rect 84 62 160 92
tri 160 62 190 92 nw
<< ndiff >>
rect 0 260 160 276
rect 0 226 8 260
rect 42 239 160 260
rect 42 226 144 239
rect 0 223 144 226
tri 144 223 160 239 nw
rect 190 260 246 276
rect 190 226 202 260
rect 236 226 246 260
rect 0 188 54 223
tri 54 193 84 223 nw
rect 0 154 8 188
rect 42 154 54 188
rect 0 120 54 154
rect 0 86 8 120
rect 42 86 54 120
tri 84 177 100 193 se
rect 100 177 144 193
tri 144 177 160 193 sw
rect 84 144 160 177
rect 84 110 106 144
rect 140 110 160 144
rect 84 108 160 110
tri 84 92 100 108 ne
rect 100 92 144 108
tri 144 92 160 108 nw
rect 190 188 246 226
rect 190 154 202 188
rect 236 154 246 188
rect 190 120 246 154
rect 0 62 54 86
tri 54 62 84 92 sw
tri 160 62 190 92 se
rect 190 86 202 120
rect 236 86 246 120
rect 190 62 246 86
rect 0 50 246 62
rect 0 16 8 50
rect 42 16 106 50
rect 140 16 202 50
rect 236 16 246 50
rect 0 0 246 16
<< ndiffc >>
rect 8 226 42 260
rect 202 226 236 260
rect 8 154 42 188
rect 8 86 42 120
rect 106 110 140 144
rect 202 154 236 188
rect 202 86 236 120
rect 8 16 42 50
rect 106 16 140 50
rect 202 16 236 50
<< poly >>
rect 160 276 190 308
<< locali >>
rect 8 260 42 276
rect 8 188 42 226
rect 202 260 236 276
rect 202 188 236 226
rect 8 120 42 154
rect 106 144 140 161
rect 106 94 140 110
rect 202 120 236 154
rect 8 50 42 86
rect 202 50 236 86
rect 42 16 106 50
rect 140 16 202 50
rect 8 0 42 16
rect 202 0 236 16
<< end >>

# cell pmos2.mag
magic
tech sky130A
magscale 1 2
<< nwell >>
rect 52 -436 352 36
<< pmos >>
rect 144 -400 174 0
rect 232 -400 262 0
<< pdiff >>
rect 88 -38 144 0
rect 88 -72 98 -38
rect 132 -72 144 -38
rect 88 -106 144 -72
rect 88 -140 98 -106
rect 132 -140 144 -106
rect 88 -174 144 -140
rect 88 -208 98 -174
rect 132 -208 144 -174
rect 88 -242 144 -208
rect 88 -276 98 -242
rect 132 -276 144 -242
rect 88 -400 144 -276
rect 174 -38 232 0
rect 174 -72 186 -38
rect 220 -72 232 -38
rect 174 -106 232 -72
rect 174 -140 186 -106
rect 220 -140 232 -106
rect 174 -174 232 -140
rect 174 -208 186 -174
rect 220 -208 232 -174
rect 174 -242 232 -208
rect 174 -276 186 -242
rect 220 -276 232 -242
rect 174 -400 232 -276
rect 262 -38 316 0
rect 262 -72 274 -38
rect 308 -72 316 -38
rect 262 -106 316 -72
rect 262 -140 274 -106
rect 308 -140 316 -106
rect 262 -174 316 -140
rect 262 -208 274 -174
rect 308 -208 316 -174
rect 262 -242 316 -208
rect 262 -276 274 -242
rect 308 -276 316 -242
rect 262 -400 316 -276
<< pdiffc >>
rect 98 -72 132 -38
rect 98 -140 132 -106
rect 98 -208 132 -174
rect 98 -276 132 -242
rect 186 -72 220 -38
rect 186 -140 220 -106
rect 186 -208 220 -174
rect 186 -276 220 -242
rect 274 -72 308 -38
rect 274 -140 308 -106
rect 274 -208 308 -174
rect 274 -276 308 -242
<< poly >>
rect 144 0 174 26
rect 232 0 262 26
rect 144 -431 174 -400
rect 232 -431 262 -400
rect 144 -461 262 -431
<< locali >>
rect 98 -38 132 42
rect 98 -106 132 -72
rect 98 -174 132 -140
rect 98 -242 132 -208
rect 98 -293 132 -276
rect 186 -38 220 0
rect 186 -106 220 -72
rect 186 -174 220 -140
rect 186 -242 220 -208
rect 186 -293 220 -276
rect 274 -38 308 42
rect 274 -106 308 -72
rect 274 -174 308 -140
rect 274 -242 308 -208
rect 274 -293 308 -276
<< end >>

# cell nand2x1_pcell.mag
magic
tech sky130A
magscale 1 2
<< nwell >>
rect 87 786 579 1550
<< pwell >>
rect 34 542 632 544
rect -31 -30 697 542
rect 34 -34 632 -30
<< pdiffc >>
rect 141 1059 175 1093
rect 229 1059 263 1093
rect 405 1059 439 1093
<< psubdiff >>
rect 34 542 632 544
rect 31 482 635 542
rect 31 480 34 482
rect 632 480 635 482
rect 31 -17 57 17
rect 91 -17 131 17
rect 165 -17 205 17
rect 239 -17 279 17
rect 313 -17 353 17
rect 387 -17 427 17
rect 461 -17 501 17
rect 535 -17 575 17
rect 609 -17 635 17
rect 31 -30 635 -17
rect 34 -34 632 -30
<< nsubdiff >>
rect 34 1497 632 1514
rect 34 1463 57 1497
rect 91 1463 131 1497
rect 165 1463 205 1497
rect 239 1463 279 1497
rect 313 1463 353 1497
rect 387 1463 427 1497
rect 461 1463 501 1497
rect 535 1463 575 1497
rect 609 1463 632 1497
rect 34 822 632 884
<< psubdiffcont >>
rect 57 -17 91 17
rect 131 -17 165 17
rect 205 -17 239 17
rect 279 -17 313 17
rect 353 -17 387 17
rect 427 -17 461 17
rect 501 -17 535 17
rect 575 -17 609 17
<< nsubdiffcont >>
rect 57 1463 91 1497
rect 131 1463 165 1497
rect 205 1463 239 1497
rect 279 1463 313 1497
rect 353 1463 387 1497
rect 427 1463 461 1497
rect 501 1463 535 1497
rect 575 1463 609 1497
<< poly >>
rect 168 375 198 413
rect 362 382 392 383
<< locali >>
rect 34 1497 632 1514
rect 34 1463 57 1497
rect 91 1463 131 1497
rect 165 1463 205 1497
rect 239 1463 279 1497
rect 313 1463 353 1497
rect 387 1463 427 1497
rect 461 1463 501 1497
rect 535 1463 575 1497
rect 609 1463 632 1497
rect 34 1446 632 1463
rect 141 1093 175 1111
rect 141 1027 175 1059
rect 229 1093 263 1111
rect 229 1057 263 1059
rect 405 1093 439 1111
rect 405 1057 439 1059
rect 229 1023 535 1057
rect 353 908 361 942
rect 205 433 239 908
rect 353 441 387 908
rect 353 433 357 441
rect 501 348 535 1023
rect 413 314 535 348
rect 413 233 447 314
rect 219 34 253 167
rect 34 32 632 34
rect 31 17 635 32
rect 31 -17 57 17
rect 91 -17 131 17
rect 165 -17 205 17
rect 239 -17 279 17
rect 313 -17 353 17
rect 387 -17 427 17
rect 461 -17 501 17
rect 535 -17 575 17
rect 609 -17 635 17
rect 31 -30 635 -17
rect 34 -34 632 -30
<< viali >>
rect 57 1463 91 1497
rect 131 1463 165 1497
rect 205 1463 239 1497
rect 279 1463 313 1497
rect 353 1463 387 1497
rect 427 1463 461 1497
rect 501 1463 535 1497
rect 575 1463 609 1497
rect 57 -17 91 17
rect 131 -17 165 17
rect 205 -17 239 17
rect 279 -17 313 17
rect 353 -17 387 17
rect 427 -17 461 17
rect 501 -17 535 17
rect 575 -17 609 17
<< metal1 >>
rect 34 1497 632 1514
rect 34 1463 57 1497
rect 91 1463 131 1497
rect 165 1463 205 1497
rect 239 1463 279 1497
rect 313 1463 353 1497
rect 387 1463 427 1497
rect 461 1463 501 1497
rect 535 1463 575 1497
rect 609 1463 632 1497
rect 34 1446 632 1463
rect 34 32 632 34
rect 31 17 635 32
rect 31 -17 57 17
rect 91 -17 131 17
rect 165 -17 205 17
rect 239 -17 279 17
rect 313 -17 353 17
rect 387 -17 427 17
rect 461 -17 501 17
rect 535 -17 575 17
rect 609 -17 635 17
rect 31 -30 635 -17
rect 34 -34 632 -30
use poly_li1_contact  poly_li1_contact_1
transform 0 1 223 -1 0 417
box -32 -28 34 26
use nmos_bottom  nmos_bottom_0
transform -1 0 360 0 1 73
box 0 0 248 302
use poly_li1_contact  poly_li1_contact_0
transform 0 1 223 -1 0 941
box -32 -28 34 26
use pmos2  pmos2_0
transform 1 0 43 0 1 1404
box 52 -461 352 42
use poly_li1_contact  poly_li1_contact_2
transform 0 -1 369 1 0 415
box -32 -28 34 26
use nmos_top_trim1  nmos_top_trim1_0
transform -1 0 554 0 1 73
box 0 0 248 309
use poly_li1_contact  poly_li1_contact_3
transform 0 1 377 -1 0 941
box -32 -28 34 26
use pmos2  pmos2_1
transform 1 0 219 0 1 1404
box 52 -461 352 42
use diff_ring_side  diff_ring_side_0
transform 1 0 666 0 1 0
box -87 -34 87 1550
use diff_ring_side  diff_ring_side_1
transform 1 0 0 0 1 0
box -87 -34 87 1550
<< end >>
